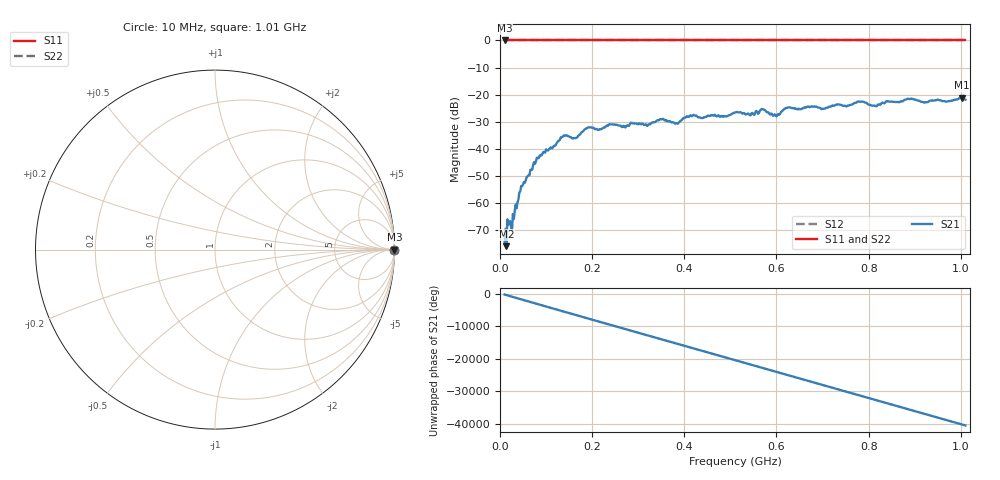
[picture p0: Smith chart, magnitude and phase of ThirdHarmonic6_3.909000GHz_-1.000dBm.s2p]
! 8/17/2025 1:46:10 PM
! C:\ANRITSUVNA\TEMP\TEMP.S2P
! CHANNEL.1
! TR.MEASUREMENT
! RAW.DATA
! RF.CORRECTION.OFF
! AVERAGING.OFF
! IF.BANDWIDTH: 5KHZ
! SWEEPTYPE:  FREQ.SWEEP(Linear)
! Reference Plane Port Info
! PORT:  PORT1  PORT2
! DISTANCE:  0  m  0  m
! TIME:  0  s  0  s
! PHASE.OFFSET:  0  deg.  0  deg.
! LOSS:  0  dB  0  dB
! REF.LOSS:  0  dB  0  dB
! REF.FREQ:  0  Hz  0  Hz
! Power Info
! POWER:  -20  dBm  -20  dBm
! EFF.POWER:  -20  dBm  -20  dBm
! SOURCE.ATTEN:  0  dB  0  dB
! TEST.ATTEN:  0  dB  0  dB
# GHZ S RI R 50.0
! FREQ.GHZ  S11RE  S11IM  S21RE  S21IM  S12RE  S12IM  S22RE  S22IM
!; PortSelection: Port_12
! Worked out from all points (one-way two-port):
!   501 points, 10 MHz to 1.01 GHz, reference 50 ohm
!   highest |S21| = -21.18 dB at 1.002 GHz (marker M1); lowest = -76.0 dB at 14 MHz (marker M2)
!   lowest |S11| = 0.0 dB at 10 MHz (marker M3)
!   |S11| at or under -10 dB: nowhere
!   |S22| runs from 0.0 to 0.0 dB; largest |S21 - S12| = 1.1
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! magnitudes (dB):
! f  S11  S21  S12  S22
! 10 MHz  0.0  -74.7  0.0  0.0
! 14 MHz  0.0  -76.0  0.0  0.0
! 20 MHz  0.0  -67.2  0.0  0.0
! 28 MHz  0.0  -64.1  0.0  0.0
! 46 MHz  0.0  -53.8  0.0  0.0
! 78 MHz  0.0  -44.7  0.0  0.0
! 136 MHz  0.0  -35.6  0.0  0.0
! 162 MHz  0.0  -36.1  0.0  0.0
! 178 MHz  0.0  -33.8  0.0  0.0
! 194 MHz  0.0  -32.1  0.0  0.0
! 344 MHz  0.0  -29.5  0.0  0.0
! 384 MHz  0.0  -30.7  0.0  0.0
! 416 MHz  0.0  -28.0  0.0  0.0
! 510 MHz  0.0  -26.6  0.0  0.0
! 548 MHz  0.0  -26.8  0.0  0.0
! 570 MHz  0.0  -25.4  0.0  0.0
! 596 MHz  0.0  -27.3  0.0  0.0
! 624 MHz  0.0  -24.9  0.0  0.0
! 678 MHz  0.0  -24.4  0.0  0.0
! 844 MHz  0.0  -22.6  0.0  0.0
! 1.002 GHz  0.0  -21.2  0.0  0.0
! 1.01 GHz  0.0  -21.9  0.0  0.0
